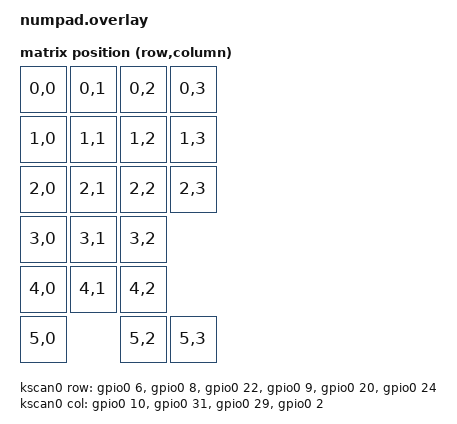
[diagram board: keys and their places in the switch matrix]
#include <dt-bindings/zmk/matrix_transform.h>

/{
  kscan0: kscan {
        compatible = "zmk,kscan-gpio-matrix";
        diode-direction = "col2row";
        wakeup-source;

        col-gpios
            = <&gpio0 10 GPIO_ACTIVE_HIGH>
            , <&gpio0 31 GPIO_ACTIVE_HIGH>
            , <&gpio0 29 GPIO_ACTIVE_HIGH>
            , <&gpio0 2  GPIO_ACTIVE_HIGH>
            ;

        row-gpios
            = <&gpio0 6  (GPIO_ACTIVE_HIGH | GPIO_PULL_DOWN)>
            , <&gpio0 8  (GPIO_ACTIVE_HIGH | GPIO_PULL_DOWN)>
            , <&gpio0 22 (GPIO_ACTIVE_HIGH | GPIO_PULL_DOWN)>
            , <&gpio0 9  (GPIO_ACTIVE_HIGH | GPIO_PULL_DOWN)>
            , <&gpio0 20 (GPIO_ACTIVE_HIGH | GPIO_PULL_DOWN)>
            , <&gpio0 24 (GPIO_ACTIVE_HIGH | GPIO_PULL_DOWN)>
            ;
    };
  default_transform: keymap_transform {
    compatible = "zmk,matrix-transform";
    columns = <4>;
    rows = <6>;

        // ┌───┬───┬───┬───┐
        // │F1 │F2 │F3 │F4 │
        // ├───┼───┼───┼───┤
        // │BTC│ / │ * │ - │
        // ├───┼───┼───┼───┤
        // │ 7 │ 8 │ 9 │ + │
        // ├───┼───┼───┤   │
        // │ 4 │ 5 │ 6 │   │
        // ├───┼───┼───┼───┤
        // │ 1 │ 2 │ 3 │RET│
        // ├───┴───┼───┤   │
        // │ 0     │ . │   │
        // └───────┴───┴───┘

    map = <
      RC(0,0) RC(0,1) RC(0,2) RC(0,3)
      RC(1,0) RC(1,1) RC(1,2) RC(1,3)
      RC(2,0) RC(2,1) RC(2,2) RC(2,3)
      RC(3,0) RC(3,1) RC(3,2) 
      RC(4,0) RC(4,1) RC(4,2)
      RC(5,0)         RC(5,2) RC(5,3)
    >;
  };

    physical_layout0: physical_layout_0 {
        compatible = "zmk,physical-layout";
        display-name = "Default Layout";
        kscan = <&kscan0>;
        transform = <&default_transform>;
    };


    chosen {
        zmk,kscan = &kscan0;
        zmk,physical-layout = &physical_layout0;
    };
};
